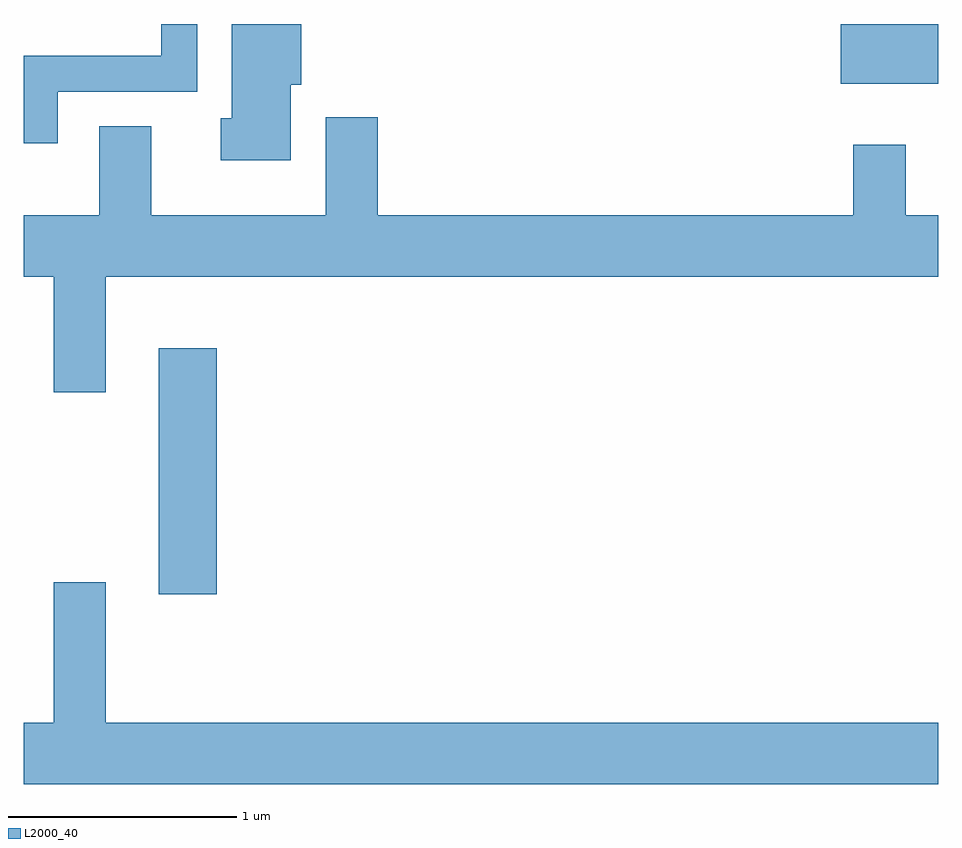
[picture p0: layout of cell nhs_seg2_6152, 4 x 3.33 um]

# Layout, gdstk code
import gdstk
lib = gdstk.Library(unit=1e-6, precision=1e-09)
def R(c, l, rs):  # rectangles x0, y0, x1, y1
    for r in rs: c.add(gdstk.rectangle(r[:2], r[2:], *l))
def P(c, l, *ps):  # polygons
    for p in ps: c.add(gdstk.Polygon(p, *l))
L2000_40 = (2000, 40)

nhs_seg2_6152 = lib.new_cell('nhs_seg2_6152')
R(nhs_seg2_6152, L2000_40, [(366.201,1111.306,366.454,1112.384), (369.186,1113.541,369.611,1113.802)])
P(nhs_seg2_6152, L2000_40, [(366.779,1113.536),(366.824,1113.536),(366.824,1113.802),(366.521,1113.802),(366.521,1113.389),(366.471,1113.389),(366.471,1113.206),(366.779,1113.206)],
  [(365.759,1113.506),(366.369,1113.506),(366.369,1113.802),(366.211,1113.802),(366.211,1113.664),(365.611,1113.664),(365.611,1113.281),(365.759,1113.281)],
  [(365.969,1112.696),(369.611,1112.696),(369.611,1112.964),(369.469,1112.964),(369.469,1113.274),(369.241,1113.274),(369.241,1112.964),(367.159,1112.964),(367.159,1113.394),(366.931,1113.394),(366.931,1112.964),(366.169,1112.964),(366.169,1113.354),(365.941,1113.354),(365.941,1112.964),(365.611,1112.964),(365.611,1112.696),(365.741,1112.696),(365.741,1112.191),(365.969,1112.191)],
  [(369.611,1110.744),(365.969,1110.744),(365.969,1111.359),(365.741,1111.359),(365.741,1110.744),(365.611,1110.744),(365.611,1110.476),(369.611,1110.476)])

lib.write_gds('nhs_seg2_6152.gds')
